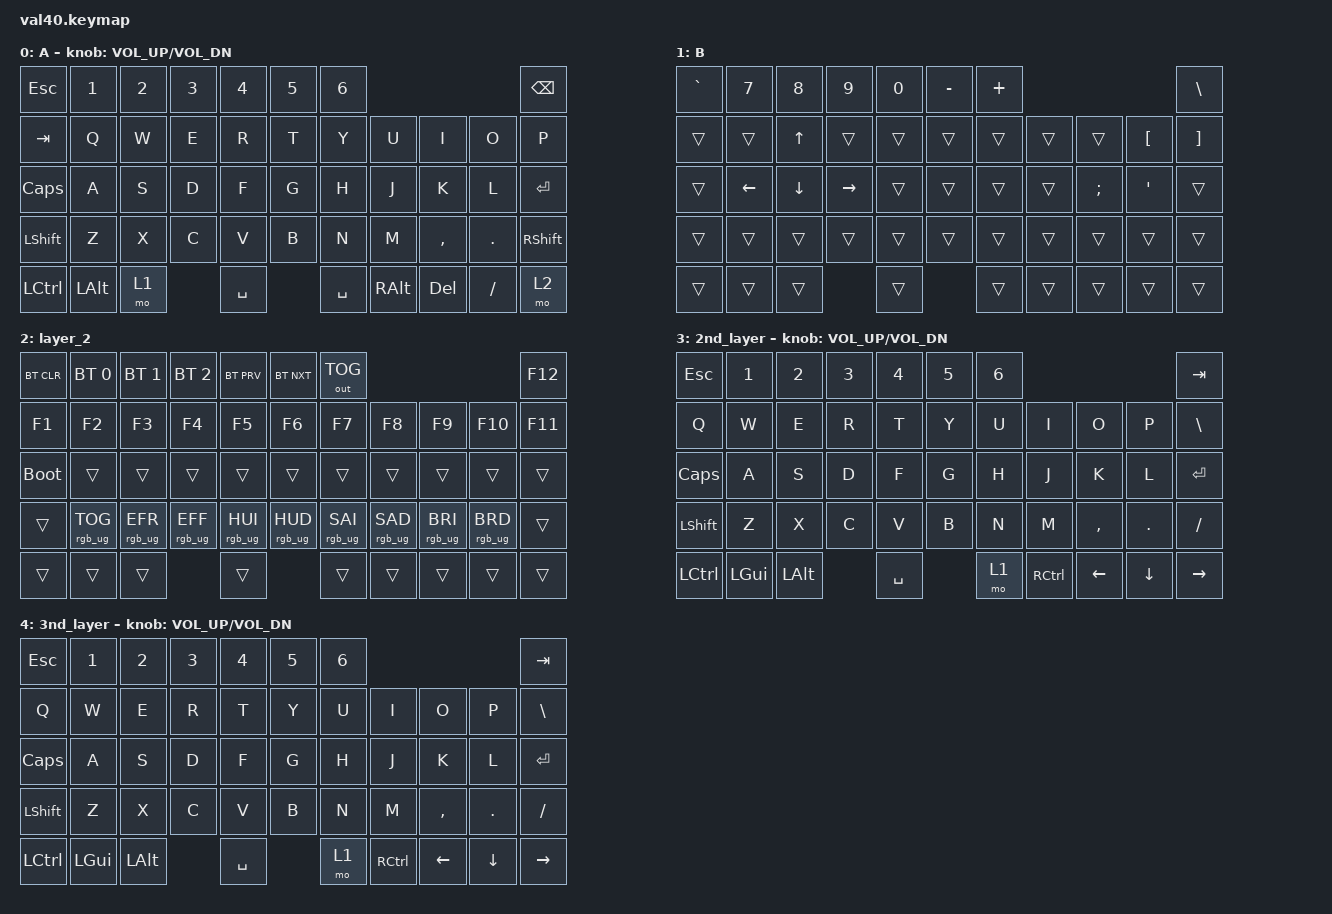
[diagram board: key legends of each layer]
/*
 * Copyright (c) 2021 Nick Winans
 *
 * SPDX-License-Identifier: MIT
 */

#include <behaviors.dtsi>
#include <dt-bindings/zmk/bt.h>
#include <dt-bindings/zmk/keys.h>
#include <dt-bindings/zmk/outputs.h>
#include <dt-bindings/zmk/rgb.h>

/ {
    keymap {
        compatible = "zmk,keymap";

        Default {
            // ------------------------------------------------------------------------------------------
            // | ESC |  1  |  2  |  3  |  4  |  5  |  6  |  7  |  8  |  9  |  0  |  -  |  =  | BSPC |DEL|
            // | TAB  |  Q  |  W  |  E  |  R  |  T  |  Y  |  U  |  I  |  O  |  P  |  [  |  ]  |   "|"   |
            // | CAPS  |  A  |  S  |  D  |  F  |  G  |  H  |  J  |  K  |  L  |  ;  |  '  |     ENTER    |
            // |  SHIFT  |  Z  |  X  |  C  |  V  |  B  |  N  |  M  |  ,  |  .  |  /  |      SHIFT       |
            // |  CTL  |  WIN  |  ALT  |            SPACE              |  ALT  |  WIN  |  MO(1) |  CTL  |
            // ------------------------------------------------------------------------------------------

            bindings = <
&kp ESC    &kp NUMBER_1  &kp N2  &kp N3  &kp N4     &kp N5  &kp N6                                           &kp BACKSPACE
&kp TAB    &kp Q         &kp W   &kp E   &kp R      &kp T   &kp Y      &kp U          &kp I       &kp O      &kp P
&kp CAPS   &kp A         &kp S   &kp D   &kp F      &kp G   &kp H      &kp J          &kp K       &kp L      &kp ENTER
&kp LSHFT  &kp Z         &kp X   &kp C   &kp V      &kp B   &kp N      &kp M          &kp COMMA   &kp DOT    &kp RIGHT_SHIFT
&kp LCTRL  &kp LEFT_ALT  &mo 1           &kp SPACE          &kp SPACE  &kp RIGHT_ALT  &kp DELETE  &kp SLASH  &mo 2
            >;

            sensor-bindings = <&inc_dec_kp C_VOL_UP C_VOL_DN>;
            label = "A";
        };

        Function {
            bindings = <
&kp GRAVE  &kp NUMBER_7  &kp NUMBER_8  &kp NUMBER_9  &kp NUMBER_0  &kp MINUS  &kp PLUS                                           &kp BACKSLASH
&trans     &trans        &kp UP_ARROW  &trans        &trans        &trans     &trans    &trans  &trans         &kp LEFT_BRACKET  &kp RIGHT_BRACKET
&trans     &kp LEFT      &kp DOWN      &kp RIGHT     &trans        &trans     &trans    &trans  &kp SEMICOLON  &kp SQT           &trans
&trans     &trans        &trans        &trans        &trans        &trans     &trans    &trans  &trans         &trans            &trans
&trans     &trans        &trans                      &trans                   &trans    &trans  &trans         &trans            &trans
            >;

            label = "B";
        };

        layer_2 {
            bindings = <
&bt BT_CLR   &bt BT_SEL 0     &bt BT_SEL 1     &bt BT_SEL 2     &bt BT_PRV       &bt BT_NXT       &out OUT_TOG                                                        &kp F12
&kp F1       &kp F2           &kp F3           &kp F4           &kp F5           &kp F6           &kp F7           &kp F8           &kp F9           &kp F10          &kp F11
&bootloader  &trans           &trans           &trans           &trans           &trans           &trans           &trans           &trans           &trans           &trans
&trans       &rgb_ug RGB_TOG  &rgb_ug RGB_EFR  &rgb_ug RGB_EFF  &rgb_ug RGB_HUI  &rgb_ug RGB_HUD  &rgb_ug RGB_SAI  &rgb_ug RGB_SAD  &rgb_ug RGB_BRI  &rgb_ug RGB_BRD  &trans
&trans       &trans           &trans                            &trans                            &trans           &trans           &trans           &trans           &trans
            >;
        };

        2nd_layer {

        // ------------------------------------------------------------------------------------------
        // | boot | BT CLR | BT1 | BT2 | BT3 | BT4 | BT5 | TRNS | TRNS | TRNS | TRNS | TRNS | TRNS |  TRNS  |
        // | TRNS | TRNS |  UP  | TRNS | TRNS | TRNS | TRNS | TRNS | TRNS | TRNS | TRNS | TRNS | TRNS | TRNS |
        // | TRNS | LEFT | DOWN | RGHT | TRNS | TRNS | TRNS | TRNS | TRNS | TRNS | TRNS | TRNS | TRNS |
        // | TRNS | TRNS | TRNS | TRNS | TRNS | TRNS | TRNS | TRNS | TRNS | TRNS | TRNS | TRNS |
        // | TRNS  | TRNS  |  TRNS |             TRNS              | TRNS  |  TRNS |  TRNS | TRNS  |
        // ------------------------------------------------------------------------------------------

        bindings = <
        &kp ESC           &kp N1    &kp N2  &kp N3  &kp N4  &kp N5     &kp N6
        &kp TAB           &kp Q     &kp W   &kp E   &kp R   &kp T      &kp Y   &kp U   &kp I        &kp O     &kp P   &kp BSLH 
        &kp CAPS          &kp A     &kp S   &kp D   &kp F   &kp G      &kp H   &kp J   &kp K        &kp L     &kp RET           
        &kp LSHFT         &kp Z     &kp X   &kp C   &kp V   &kp B      &kp N   &kp M   &kp COMMA    &kp DOT   &kp FSLH
        &kp LCTRL         &kp LGUI  &kp LALT        &kp SPACE          &mo 1  &kp RCTRL   &kp LEFT  &kp DOWN  &kp RIGHT
        >;

        sensor-bindings = <&inc_dec_kp C_VOL_UP C_VOL_DN>;
    };

    3nd_layer {

    // ------------------------------------------------------------------------------------------
    // | boot | F1 | F2 | F3 | F4 | F5 | F6 | F7 | F8 | F9 | F10 | F11 | F12 |  TRNS  |
    // | TRNS | TRNS | TRNS | TRNS | TRNS | TRNS | TRNS | TRNS | TRNS | TRNS | TRNS | TRNS | TRNS | TRNS |
    // | TRNS | TRNS | TRNS | TRNS | TRNS | TRNS | TRNS | TRNS | TRNS | TRNS | TRNS | TRNS | TRNS |
    // | TRNS | TRNS | VOL_DN | VOL_UP | PREV | NEXT | TRNS | TRNS | TRNS | TRNS | TRNS | TRNS |
    // | TRNS  | TRNS  |  TRNS |             PLAY/PAUS              | TRNS  |  TRNS |  TRNS | TRNS  |
    // ------------------------------------------------------------------------------------------

    bindings = <
	&kp ESC           &kp N1    &kp N2  &kp N3  &kp N4  &kp N5     &kp N6
        &kp TAB           &kp Q     &kp W   &kp E   &kp R   &kp T      &kp Y   &kp U   &kp I        &kp O     &kp P   &kp BSLH 
        &kp CAPS          &kp A     &kp S   &kp D   &kp F   &kp G      &kp H   &kp J   &kp K        &kp L     &kp RET           
        &kp LSHFT         &kp Z     &kp X   &kp C   &kp V   &kp B      &kp N   &kp M   &kp COMMA    &kp DOT   &kp FSLH
        &kp LCTRL         &kp LGUI  &kp LALT        &kp SPACE          &mo 1  &kp RCTRL   &kp LEFT  &kp DOWN  &kp RIGHT
    >;

    sensor-bindings = <&inc_dec_kp C_VOL_UP C_VOL_DN>;
};

};
};
